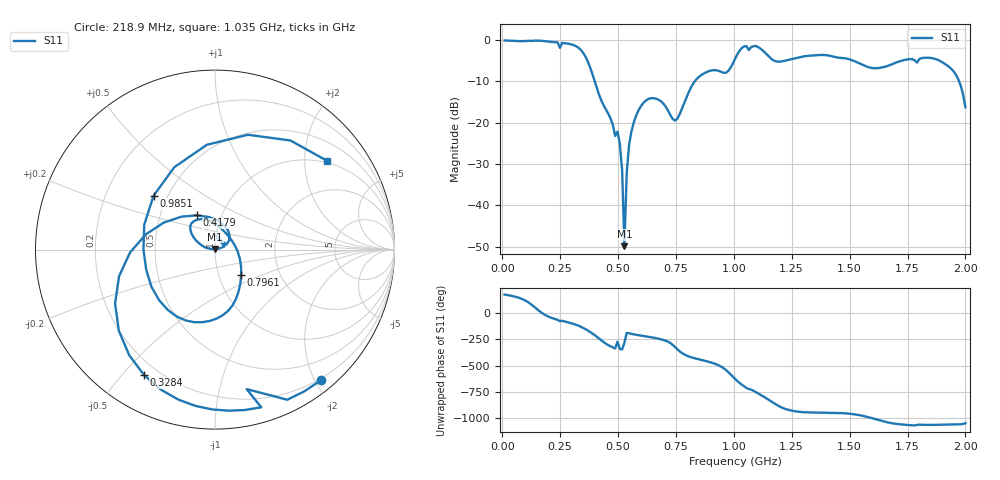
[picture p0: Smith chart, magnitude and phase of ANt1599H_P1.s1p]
!Created with skrf (http://scikit-rf.org).
# Hz S RI R 50.0
!freq ReS11 ImS11
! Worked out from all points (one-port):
!   201 points, 10 MHz to 2 GHz, reference 50 ohm
!   lowest |S11| = -49.8 dB at 527.4 MHz (marker M1), VSWR 1.01, Z = 50.1 + j0.316 ohm
!   |S11| at or under -10 dB: 398.9 MHz to 832.2 MHz (433.2 MHz wide, 70.4 % of centre); 1.972 GHz to end of sweep
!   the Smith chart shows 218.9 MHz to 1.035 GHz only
!   S11 on the Smith chart (normalised r, x): 218.9 MHz: 0.17, -2.10; 328.4 MHz: 0.15, -0.57; 417.9 MHz: 0.76, +0.31; 796 MHz: 1.28, -0.38; 985.1 MHz: 0.42, +0.32; 1.035 GHz: 0.95, +2.57
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1e7  -0.9775 0.0692
7.965e7  -0.7226 0.6326
1.1945e8  -0.0206 0.9711
1.5925e8  0.9155 0.3354
2.1895e8  0.5931 -0.726
2.5875e8  0.258 -0.8786
3.284e8  -0.3959 -0.698
4.1795e8  -0.1019 0.191
5.075e8  0.0525 0.018
5.1745e8  0.0261 0.00651
5.274e8  0.000668 0.00315
5.3735e8  -0.0243 0.00411
5.473e8  -0.052 0.0104
5.7715e8  -0.1071 0.0526
7.5625e8  0.1082 0.028
7.9605e8  0.1458 -0.142
9.1545e8  -0.2126 -0.3732
9.851e8  -0.3423 0.3001
1.005e9  -0.045 0.5842
1.03485e9  0.6247 0.4946
1.0846e9  0.7905 -0.266
1.1244e9  0.2735 -0.691
1.1841e9  -0.4807 -0.2597
1.25375e9  -0.5117 0.2874
1.5025e9  -0.307 0.4883
1.75125e9  0.5583 0.1562
1.93035e9  0.4391 0.163
2e9  0.1287 0.0823
